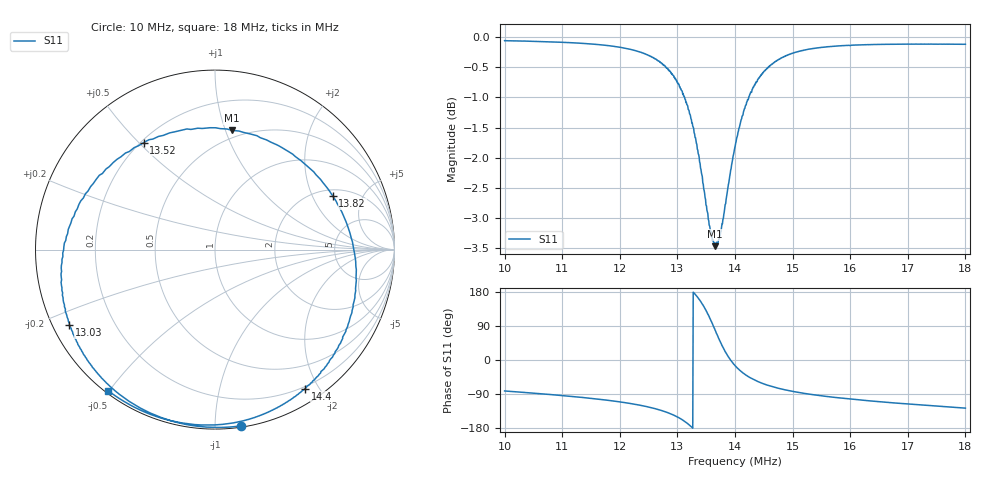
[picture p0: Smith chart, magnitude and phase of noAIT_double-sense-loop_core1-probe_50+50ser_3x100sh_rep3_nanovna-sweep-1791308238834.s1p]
! NanoVNA Web complex sweep
! Processing: unaveraged complex samples; linear segment spacing; no smoothing
# Hz S RI R 50
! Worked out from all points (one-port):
!   1010 points, 10 MHz to 18 MHz, reference 50 ohm
!   lowest |S11| = -3.5 dB at 13.65 MHz (marker M1), VSWR 5.08, Z = 21.7 + j52.5 ohm
!   |S11| at or under -10 dB: nowhere
!   S11 on the Smith chart (normalised r, x): 10 MHz: 0.01, -1.16; 13.03 MHz: 0.05, -0.24; 13.52 MHz: 0.21, +0.52; 13.82 MHz: 2.32, +2.88; 14.4 MHz: 0.18, -1.82; 18 MHz: 0.01, -0.50
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1e7  0.1429 -0.9824
1.100698e7  -0.0676 -0.9873
1.200604e7  -0.3456 -0.9173
1.233906e7  -0.4713 -0.8501
1.260864e7  -0.5935 -0.7538
1.282272e7  -0.7039 -0.6254
1.300509e7  -0.7988 -0.4495
1.302888e7  -0.8109 -0.4197
1.319539e7  -0.8567 -0.1524
1.331432e7  -0.8176 0.1124
1.34174e7  -0.6782 0.368
1.352048e7  -0.3969 0.5966
1.358391e7  -0.1564 0.6722
1.364734e7  0.0925 0.6648
1.37187e7  0.373 0.5683
1.37742e7  0.5508 0.4326
1.382178e7  0.6565 0.2983
1.3909e7  0.7657 0.0439
1.400414e7  0.7829 -0.2172
1.409929e7  0.7414 -0.4168
1.417858e7  0.6859 -0.5455
1.44006e7  0.5009 -0.7744
1.466225e7  0.3102 -0.899
1.50032e7  0.1205 -0.9618
1.544722e7  -0.0588 -0.9775
1.600225e7  -0.2211 -0.9583
1.700131e7  -0.4344 -0.8854
1.800036e7  -0.5939 -0.7871
